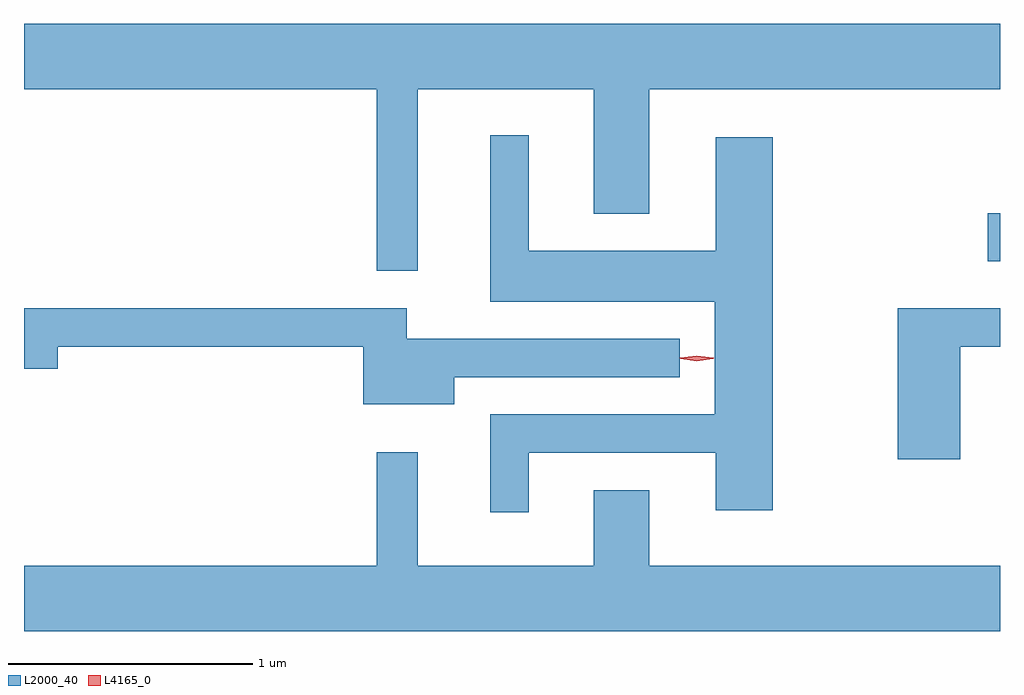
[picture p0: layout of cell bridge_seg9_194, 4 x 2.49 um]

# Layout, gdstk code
import gdstk
lib = gdstk.Library(unit=1e-6, precision=1e-09)
def R(c, l, rs):  # rectangles x0, y0, x1, y1
    for r in rs: c.add(gdstk.rectangle(r[:2], r[2:], *l))
def P(c, l, *ps):  # polygons
    for p in ps: c.add(gdstk.Polygon(p, *l))
L2000_40 = (2000, 40)
L4165_0 = (4165, 0)

bridge_seg9_194 = lib.new_cell('bridge_seg9_194')
R(bridge_seg9_194, L2000_40, [(1272.356,1980.011,1272.406,1980.209)])
P(bridge_seg9_194, L2000_40, [(1270.019,1980.716),(1270.741,1980.716),(1270.741,1980.206),(1270.969,1980.206),(1270.969,1980.716),(1272.406,1980.716),(1272.406,1980.984),(1268.406,1980.984),(1268.406,1980.716),(1269.851,1980.716),(1269.851,1979.973),(1270.019,1979.973)],
  [(1270.474,1979.226),(1271.241,1979.226),(1271.241,1978.991),(1271.474,1978.991),(1271.474,1980.519),(1271.241,1980.519),(1271.241,1980.054),(1270.474,1980.054),(1270.474,1980.528),(1270.316,1980.528),(1270.316,1979.846),(1271.236,1979.846),(1271.236,1979.384),(1270.316,1979.384),(1270.316,1978.983),(1270.474,1978.983)],
  [(1272.244,1979.661),(1272.406,1979.661),(1272.406,1979.819),(1271.986,1979.819),(1271.986,1979.201),(1272.244,1979.201)],
  [(1270.169,1979.536),(1271.093,1979.536),(1271.093,1979.694),(1269.974,1979.694),(1269.974,1979.819),(1268.406,1979.819),(1268.406,1979.571),(1268.544,1979.571),(1268.544,1979.661),(1269.796,1979.661),(1269.796,1979.426),(1270.169,1979.426)],
  [(1272.406,1978.764),(1270.969,1978.764),(1270.969,1979.074),(1270.741,1979.074),(1270.741,1978.764),(1270.019,1978.764),(1270.019,1979.228),(1269.851,1979.228),(1269.851,1978.764),(1268.406,1978.764),(1268.406,1978.496),(1272.406,1978.496)])
P(bridge_seg9_194, L4165_0, [(1271.164,1979.602),(1271.098,1979.612),(1271.097,1979.612),(1271.098,1979.613),(1271.164,1979.622),(1271.229,1979.613),(1271.23,1979.612),(1271.229,1979.612)],
  [(1271.163,1979.605),(1271.094,1979.614),(1271.094,1979.615),(1271.094,1979.616),(1271.163,1979.625),(1271.232,1979.616),(1271.232,1979.615),(1271.232,1979.614)])

lib.write_gds('bridge_seg9_194.gds')
